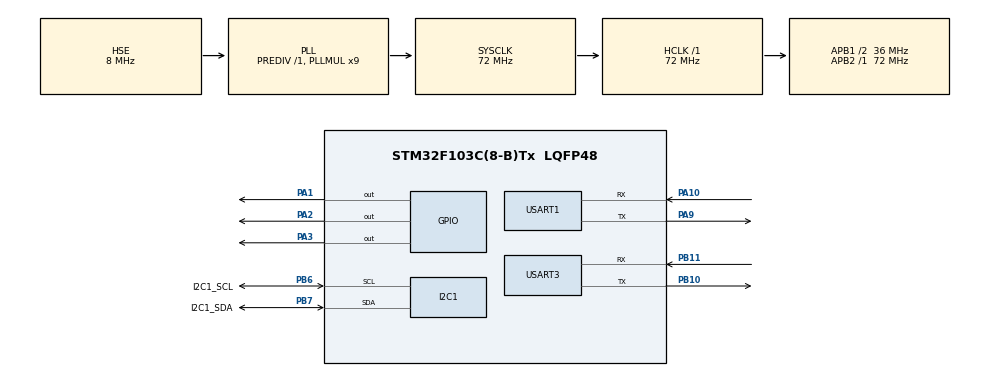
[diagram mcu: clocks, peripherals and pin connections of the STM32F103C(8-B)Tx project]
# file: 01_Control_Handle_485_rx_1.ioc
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Mcu.Family=STM32F1
Mcu.Name=STM32F103C(8-B)Tx
Mcu.Package=LQFP48
NVIC.I2C1_ER_IRQn=true\:0\:0\:false\:false\:true\:true\:true\:true
NVIC.I2C1_EV_IRQn=true\:0\:0\:false\:false\:true\:true\:true\:true
NVIC.PriorityGroup=NVIC_PRIORITYGROUP_4
NVIC.RTC_Alarm_IRQn=true\:0\:0\:false\:false\:true\:true\:true\:true
NVIC.RTC_IRQn=true\:0\:0\:false\:false\:true\:true\:true\:true
NVIC.USART1_IRQn=true\:0\:0\:false\:false\:true\:true\:true\:true
NVIC.USART3_IRQn=true\:0\:0\:false\:false\:true\:true\:true\:true
PA1.GPIO_Speed=GPIO_SPEED_FREQ_HIGH
PA1.PinState=GPIO_PIN_SET
PA1.Signal=GPIO_Output
PA10.Mode=Asynchronous
PA10.Signal=USART1_RX
PA13.Mode=Serial_Wire
PA13.Signal=SYS_JTMS-SWDIO
PA14.Mode=Serial_Wire
PA14.Signal=SYS_JTCK-SWCLK
PA2.GPIO_Speed=GPIO_SPEED_FREQ_HIGH
PA2.PinState=GPIO_PIN_SET
PA2.Signal=GPIO_Output
PA3.GPIO_Speed=GPIO_SPEED_FREQ_HIGH
PA3.PinState=GPIO_PIN_SET
PA3.Signal=GPIO_Output
PA9.Mode=Asynchronous
PA9.Signal=USART1_TX
PB10.Mode=Asynchronous
PB10.Signal=USART3_TX
PB11.Mode=Asynchronous
PB11.Signal=USART3_RX
PB6.GPIO_Label=I2C1_SCL
PB6.Mode=I2C
PB6.Signal=I2C1_SCL
PB7.GPIO_Label=I2C1_SDA
PB7.Mode=I2C
PB7.Signal=I2C1_SDA
PC14-OSC32_IN.Mode=LSE-External-Oscillator
PC14-OSC32_IN.Signal=RCC_OSC32_IN
PC15-OSC32_OUT.Mode=LSE-External-Oscillator
PC15-OSC32_OUT.Signal=RCC_OSC32_OUT
PD0-OSC_IN.Mode=HSE-External-Oscillator
PD0-OSC_IN.Signal=RCC_OSC_IN
PD1-OSC_OUT.Mode=HSE-External-Oscillator
PD1-OSC_OUT.Signal=RCC_OSC_OUT
ProjectManager.HeapSize=0x200
ProjectManager.StackSize=0x400
ProjectManager.TargetToolchain=MDK-ARM V5.32
RCC.AHBFreq_Value=72000000
RCC.APB1CLKDivider=RCC_HCLK_DIV2
RCC.APB1Freq_Value=36000000
RCC.APB1TimFreq_Value=72000000
RCC.APB2Freq_Value=72000000
RCC.APB2TimFreq_Value=72000000
RCC.HCLKFreq_Value=72000000
RCC.PLLMUL=RCC_PLL_MUL9
RCC.PLLSourceVirtual=RCC_PLLSOURCE_HSE
RCC.RTCClockSelection=RCC_RTCCLKSOURCE_LSE
RCC.SYSCLKFreq_VALUE=72000000
RCC.SYSCLKSource=RCC_SYSCLKSOURCE_PLLCLK
RCC.USBFreq_Value=72000000
USART1.VirtualMode=VM_ASYNC
USART3.VirtualMode=VM_ASYNC
VP_RTC_VS_RTC_Activate.Mode=RTC_Enabled
board=custom

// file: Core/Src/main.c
/* USER CODE BEGIN Header */
/**
  ******************************************************************************
  * @file           : main.c
  * @brief          : Main program body
  ******************************************************************************
  * @attention
  *
  * Copyright (c) 2025 STMicroelectronics.
  * All rights reserved.
  *
  * This software is licensed under terms that can be found in the LICENSE file
  * in the root directory of this software component.
  * If no LICENSE file comes with this software, it is provided AS-IS.
  *
  ******************************************************************************
  */
/* USER CODE END Header */
#include "main.h"
#include "i2c.h"
#include "rtc.h"
#include "usart.h"
#include "gpio.h"
#include "sys_manager.h"
#include <stdio.h>

extern UART_HandleTypeDef huart1;
uint8_t rxBuffer[UART_RX_BUFFER_SIZE];
volatile uint8_t rxIndex = 0;
volatile ReceiveState rxState = WAITING_HEADER;
uint8_t dataLength = 0;
uint8_t dataIndex = 0;

void SystemClock_Config(void);
static void MX_GPIO_Init(void);
static void MX_USART1_UART_Init(void);
static void MX_USART3_UART_Init(void);
static void MX_RTC_Init(void);

/* USER CODE BEGIN 0 */
extern UART_HandleTypeDef huart1;

void USART1_Init(void)
{
    // USART1 GPIO配置
    GPIO_InitTypeDef GPIO_InitStruct = {0};

    // 使能GPIOA时钟
    __HAL_RCC_GPIOA_CLK_ENABLE();
    // 使能USART1时钟
    __HAL_RCC_USART1_CLK_ENABLE();

    // 配置PA9 (USART1_TX)
    GPIO_InitStruct.Pin = USART1_TX_Pin;
    GPIO_InitStruct.Mode = GPIO_MODE_AF_PP;
    GPIO_InitStruct.Speed = GPIO_SPEED_FREQ_HIGH;
    HAL_GPIO_Init(USART1_TX_GPIO_Port, &GPIO_InitStruct);

    // 配置PA10 (USART1_RX)
    GPIO_InitStruct.Pin = USART1_RX_Pin;
    GPIO_InitStruct.Mode = GPIO_MODE_INPUT;
    GPIO_InitStruct.Pull = GPIO_NOPULL;
    HAL_GPIO_Init(USART1_RX_GPIO_Port, &GPIO_InitStruct);

    // USART1配置
    huart1.Instance = USART1;
    huart1.Init.BaudRate = 115200;
    huart1.Init.WordLength = UART_WORDLENGTH_8B;
    huart1.Init.StopBits = UART_STOPBITS_1;
    huart1.Init.Parity = UART_PARITY_NONE;
    huart1.Init.Mode = UART_MODE_TX_RX;
    huart1.Init.HwFlowCtl = UART_HWCONTROL_NONE;
    huart1.Init.OverSampling = UART_OVERSAMPLING_16;

    if (HAL_UART_Init(&huart1) != HAL_OK)
    {
        Error_Handler();
    }

    // 确保在初始化完成后启动接收中断
    HAL_UART_Receive_IT(&huart1, &rxBuffer[0], 1);

    // 确保USART1中断已启用
    HAL_NVIC_SetPriority(USART1_IRQn, 0, 0);
    HAL_NVIC_EnableIRQ(USART1_IRQn);
}

// UART接收中断回调函数
void HAL_UART_RxCpltCallback(UART_HandleTypeDef *huart)
{
    if (huart->Instance == USART1)
    {
        printf("Received byte[%d]: 0x%02X\r\n", rxIndex, rxBuffer[rxIndex]);

        switch (rxState)
        {
            case WAITING_HEADER:
                if (rxBuffer[rxIndex] == FRAME_HEADER)
                {
                    printf("Header found at index %d\r\n", rxIndex);
                    rxState = RECEIVING_LENGTH;
                    rxIndex = 0;  // 重置索引
                }
                break;

            case RECEIVING_LENGTH:
                dataLength = rxBuffer[rxIndex];
                printf("Length received: %d at index %d\r\n", dataLength, rxIndex);
                if (dataLength > 0 && dataLength <= UART_RX_BUFFER_SIZE - 3)
                {
                    rxState = RECEIVING_DATA;
                    dataIndex = 0;
                }
                else
                {
                    printf("Invalid length, resetting to wait for header\r\n");
                    rxState = WAITING_HEADER;
                }
                break;

            case RECEIVING_DATA:
                printf("Data[%d]: 0x%02X\r\n", dataIndex, rxBuffer[rxIndex]);
                dataIndex++;
                if (dataIndex >= dataLength)
                {
                    rxState = WAITING_TAIL;
                }
                break;

            case WAITING_TAIL:
                if (rxBuffer[rxIndex] == FRAME_TAIL)
                {
                    printf("Frame complete\r\n");
                    // 处理完整帧数据
                    ProcessReceivedFrame(&rxBuffer[2], dataLength);
                }
                rxState = WAITING_HEADER;
                break;
        }

        rxIndex = (rxIndex + 1) % UART_RX_BUFFER_SIZE;
        HAL_UART_Receive_IT(&huart1, &rxBuffer[rxIndex], 1);
    }
}

void ProcessReceivedFrame(uint8_t* data, uint8_t length)
{
    // 添加调试打印
    printf("Processing frame: ");
    for(uint8_t i = 0; i < length; i++)
    {
        printf("0x%02X ", data[i]);
    }
    printf("\r\n");

    // 检查功能码和数据
    if(length >= 2 && data[0] == 0x01)  // 功能码为0x01
    {
        if(data[1] == 0x01)  // 打开KEY1
        {
            printf("Setting KEY1 ON\r\n");
            // 这里添加打开KEY1的具体操作
            Set_Comm_Status(COMM_STATUS_OK);  // 更新通信状态
        }
        else if(data[1] == 0x00)  // 关闭KEY1
        {
            printf("Setting KEY1 OFF\r\n");
            // 这里添加关闭KEY1的具体操作
            Set_Comm_Status(COMM_STATUS_OK);  // 更新通信状态
        }
    }
}

/* USER CODE END 0 */

int main(void)
{
    /* Reset of all peripherals, Initializes the Flash interface and the Systick. */
    HAL_Init();

    /* Configure the system clock */
    SystemClock_Config();

    /* Initialize all configured peripherals */
    MX_GPIO_Init();
    MX_I2C1_Init();
    MX_USART1_UART_Init();
    MX_USART3_UART_Init();
    MX_RTC_Init();

    printf("\r\n\r\n[System] Starting up...\r\n");
    printf("[System] UART1 initialized and ready for receiving data\r\n");
    printf("[System] Please send data...\r\n");

    /* Initialize system */
    if(Sys_Init() != HAL_OK)
    {
        printf("[System] Initialization failed!\r\n");
        Error_Handler();
    }
    printf("[System] Initialization complete\r\n");

    printf("\r\n[System] Testing UART1 protocol...\r\n");
    printf("[System] Device address: 0x%02X\r\n", DEVICE_ADDR);
    printf("[System] Available functions:\r\n");
    printf("  - Read Status (0x%02X)\r\n", FUNC_READ_STATUS);
    printf("  - Set LED     (0x%02X)\r\n", FUNC_SET_LED);
    printf("  - Get Time    (0x%02X)\r\n", FUNC_GET_TIME);
    printf("  - Set Time    (0x%02X)\r\n", FUNC_SET_TIME);

    /* Infinite loop */
    while (1)
    {
        Sys_Run();
        HAL_GPIO_TogglePin(GPIOA, GPIO_PIN_2);  // 翻转LED2表示系统运行
        HAL_Delay(500);  // 500ms闪烁
    }
}

void SystemClock_Config(void)
{
  RCC_OscInitTypeDef RCC_OscInitStruct = {0};
  RCC_ClkInitTypeDef RCC_ClkInitStruct = {0};
  RCC_PeriphCLKInitTypeDef PeriphClkInit = {0};

  /** Initializes the RCC Oscillators according to the specified parameters
  * in the RCC_OscInitTypeDef structure.
  */
  RCC_OscInitStruct.OscillatorType = RCC_OSCILLATORTYPE_HSE|RCC_OSCILLATORTYPE_LSE;
  RCC_OscInitStruct.HSEState = RCC_HSE_ON;
  RCC_OscInitStruct.HSEPredivValue = RCC_HSE_PREDIV_DIV1;
  RCC_OscInitStruct.LSEState = RCC_LSE_ON;
  RCC_OscInitStruct.HSIState = RCC_HSI_ON;
  RCC_OscInitStruct.PLL.PLLState = RCC_PLL_ON;
  RCC_OscInitStruct.PLL.PLLSource = RCC_PLLSOURCE_HSE;
  RCC_OscInitStruct.PLL.PLLMUL = RCC_PLL_MUL9;
  if (HAL_RCC_OscConfig(&RCC_OscInitStruct) != HAL_OK)
  {
    Error_Handler();
  }

  /** Initializes the CPU, AHB and APB buses clocks
  */
  RCC_ClkInitStruct.ClockType = RCC_CLOCKTYPE_HCLK|RCC_CLOCKTYPE_SYSCLK
                              |RCC_CLOCKTYPE_PCLK1|RCC_CLOCKTYPE_PCLK2;
  RCC_ClkInitStruct.SYSCLKSource = RCC_SYSCLKSOURCE_PLLCLK;
  RCC_ClkInitStruct.AHBCLKDivider = RCC_SYSCLK_DIV1;
  RCC_ClkInitStruct.APB1CLKDivider = RCC_HCLK_DIV2;
  RCC_ClkInitStruct.APB2CLKDivider = RCC_HCLK_DIV1;

  if (HAL_RCC_ClockConfig(&RCC_ClkInitStruct, FLASH_LATENCY_2) != HAL_OK)
  {
    Error_Handler();
  }
  PeriphClkInit.PeriphClockSelection = RCC_PERIPHCLK_RTC;
  PeriphClkInit.RTCClockSelection = RCC_RTCCLKSOURCE_LSE;
  if (HAL_RCCEx_PeriphCLKConfig(&PeriphClkInit) != HAL_OK)
  {
    Error_Handler();
  }
}

/* USER CODE BEGIN 4 */
static void MX_GPIO_Init(void)
{
    GPIO_InitTypeDef GPIO_InitStruct = {0};

    /* GPIO Ports Clock Enable */
    __HAL_RCC_GPIOA_CLK_ENABLE();
    __HAL_RCC_GPIOB_CLK_ENABLE();
    __HAL_RCC_GPIOC_CLK_ENABLE();

    /* 配置LED引脚 */
    GPIO_InitStruct.Pin = GPIO_PIN_2;
    GPIO_InitStruct.Mode = GPIO_MODE_OUTPUT_PP;
    GPIO_InitStruct.Speed = GPIO_SPEED_FREQ_LOW;
    HAL_GPIO_Init(GPIOA, &GPIO_InitStruct);

    /* 配置USART3引脚（如果使用） */
    GPIO_InitStruct.Pin = GPIO_PIN_10|GPIO_PIN_11;
    GPIO_InitStruct.Mode = GPIO_MODE_AF_PP;
    GPIO_InitStruct.Speed = GPIO_SPEED_FREQ_HIGH;
    HAL_GPIO_Init(GPIOB, &GPIO_InitStruct);
}

static void MX_USART1_UART_Init(void)
{
    // 调用我们自定义的初始化函数
    USART1_Init();
}

static void MX_I2C1_Init(void)
{
    // 这里需要补充CubeMX生成的I2C初始化代码
    // 示例：
    hi2c1.Instance = I2C1;
    hi2c1.Init.ClockSpeed = 100000;
    hi2c1.Init.DutyCycle = I2C_DUTYCYCLE_2;
    hi2c1.Init.OwnAddress1 = 0;
    hi2c1.Init.AddressingMode = I2C_ADDRESSINGMODE_7BIT;
    hi2c1.Init.DualAddressMode = I2C_DUALADDRESS_DISABLE;
    hi2c1.Init.OwnAddress2 = 0;
    hi2c1.Init.GeneralCallMode = I2C_GENERALCALL_DISABLE;
    hi2c1.Init.NoStretchMode = I2C_NOSTRETCH_DISABLE;
    if (HAL_I2C_Init(&hi2c1) != HAL_OK)
    {
        Error_Handler();
    }
}

static void MX_RTC_Init(void)
{
    RTC_TimeTypeDef sTime = {0};
    RTC_DateTypeDef sDate = {0};

    hrtc.Instance = RTC;
    hrtc.Init.AsynchPrediv = 0x7F;   // 仅需设置异步预分频
    if (HAL_RTC_Init(&hrtc) != HAL_OK)
    {
        Error_Handler();
    }

    // 设置初始时间（STM32F1专用格式）
    sTime.Hours = 0;
    sTime.Minutes = 0;
    sTime.Seconds = 0;
    if (HAL_RTC_SetTime(&hrtc, &sTime, RTC_FORMAT_BIN) != HAL_OK)
    {
        Error_Handler();
    }

    // 设置初始日期（STM32F1专用格式）
    sDate.WeekDay = RTC_WEEKDAY_MONDAY;
    sDate.Month = RTC_MONTH_JANUARY;
    sDate.Date = 1;
    sDate.Year = 24;
    if (HAL_RTC_SetDate(&hrtc, &sDate, RTC_FORMAT_BIN) != HAL_OK)
    {
        Error_Handler();
    }
}

static void MX_USART3_UART_Init(void)
{
    // 这里需要补充CubeMX生成的USART3初始化代码
    // 示例：
    huart3.Instance = USART3;
    huart3.Init.BaudRate = 115200;
    huart3.Init.WordLength = UART_WORDLENGTH_8B;
    huart3.Init.StopBits = UART_STOPBITS_1;
    huart3.Init.Parity = UART_PARITY_NONE;
    huart3.Init.Mode = UART_MODE_TX_RX;
    huart3.Init.HwFlowCtl = UART_HWCONTROL_NONE;
    huart3.Init.OverSampling = UART_OVERSAMPLING_16;
    if (HAL_UART_Init(&huart3) != HAL_OK)
    {
        Error_Handler();
    }
}
/* USER CODE END 4 */

void Error_Handler(void)
{
  __disable_irq();
  while (1)
  {
  }
}
